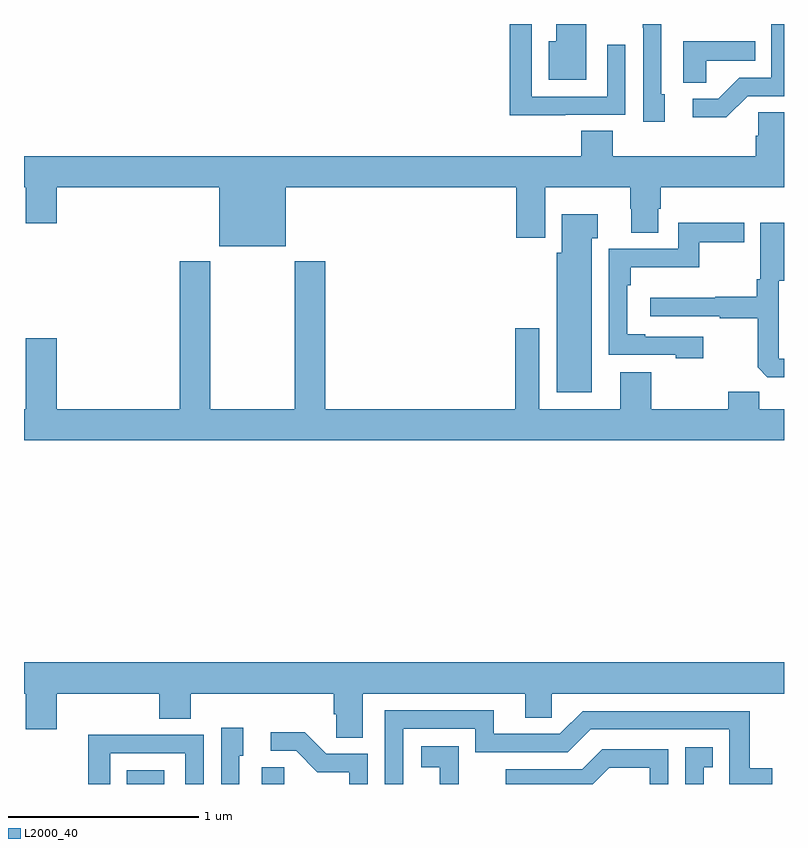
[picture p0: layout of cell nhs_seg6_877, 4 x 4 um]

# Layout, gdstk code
import gdstk
lib = gdstk.Library(unit=1e-6, precision=1e-09)
def R(c, l, rs):  # rectangles x0, y0, x1, y1
    for r in rs: c.add(gdstk.rectangle(r[:2], r[2:], *l))
def P(c, l, *ps):  # polygons
    for p in ps: c.add(gdstk.Polygon(p, *l))
L2000_40 = (2000, 40)

nhs_seg6_877 = lib.new_cell('nhs_seg6_877')
R(nhs_seg6_877, L2000_40, [(165.542,973.5,165.739,973.573), (166.25,973.5,166.371,973.589)])
P(nhs_seg6_877, L2000_40, [(168.373,977.13),(168.354,977.13),(168.354,977.5),(168.256,977.5),(168.256,977.479),(168.258,977.479),(168.258,976.986),(168.373,976.986)],
  [(167.849,977.022),(168.165,977.022),(168.165,977.392),(168.069,977.392),(168.069,977.118),(167.673,977.118),(167.673,977.5),(167.557,977.5),(167.557,977.021),(167.849,977.021)],
  [(168.81,977.121),(169,977.121),(169,977.5),(168.933,977.5),(168.933,977.217),(168.764,977.217),(168.653,977.106),(168.519,977.106),(168.519,977.009),(168.697,977.009)],
  [(167.959,977.5),(167.801,977.5),(167.801,977.41),(167.762,977.41),(167.762,977.207),(167.959,977.207)],
  [(168.591,977.306),(168.848,977.306),(168.848,977.41),(168.47,977.41),(168.47,977.191),(168.591,977.191)],
  [(166.378,976.64),(167.591,976.64),(167.591,976.374),(167.743,976.374),(167.743,976.64),(168.19,976.64),(168.19,976.527),(168.197,976.527),(168.197,976.402),(168.337,976.402),(168.337,976.527),(168.35,976.527),(168.35,976.64),(169,976.64),(169,977.036),(168.864,977.036),(168.864,976.913),(168.851,976.913),(168.851,976.804),(168.098,976.804),(168.098,976.937),(167.933,976.937),(167.933,976.804),(165,976.804),(165,976.64),(165.008,976.64),(165.008,976.452),(165.172,976.452),(165.172,976.64),(166.028,976.64),(166.028,976.331),(166.378,976.331)],
  [(167.989,976.373),(168.019,976.373),(168.019,976.498),(167.831,976.498),(167.831,976.296),(167.804,976.296),(167.804,975.563),(167.989,975.563)],
  [(168.574,975.855),(168.271,975.855),(168.271,975.868),(168.174,975.868),(168.174,976.124),(168.194,976.124),(168.194,976.22),(168.553,976.22),(168.553,976.351),(168.79,976.351),(168.79,976.454),(168.444,976.454),(168.444,976.317),(168.078,976.317),(168.078,975.759),(168.429,975.759),(168.429,975.74),(168.574,975.74)],
  [(169,975.738),(168.972,975.738),(168.972,976.149),(169,976.149),(169,976.453),(168.876,976.453),(168.876,976.156),(168.856,976.156),(168.856,976.064),(168.637,976.064),(168.637,976.06),(168.297,976.06),(168.297,975.963),(168.661,975.963),(168.661,975.951),(168.861,975.951),(168.861,975.693),(168.913,975.642),(169,975.642)],
  [(169,975.472),(168.871,975.472),(168.871,975.565),(168.707,975.565),(168.707,975.472),(168.301,975.472),(168.301,975.667),(168.137,975.667),(168.137,975.472),(167.713,975.472),(167.713,975.898),(167.585,975.898),(167.585,975.472),(166.586,975.472),(166.586,976.252),(166.426,976.252),(166.426,975.472),(165.981,975.472),(165.981,976.252),(165.821,976.252),(165.821,975.472),(165.172,975.472),(165.172,975.847),(165.008,975.847),(165.008,975.472),(165,975.472),(165,975.308),(169,975.308)],
  [(166.783,973.976),(167.639,973.976),(167.639,973.849),(167.778,973.849),(167.778,973.976),(169,973.976),(169,974.14),(165,974.14),(165,973.976),(165.008,973.976),(165.008,973.788),(165.172,973.788),(165.172,973.976),(165.713,973.976),(165.713,973.843),(165.878,973.843),(165.878,973.976),(166.631,973.976),(166.631,973.867),(166.644,973.867),(166.644,973.744),(166.783,973.744)],
  [(166.995,973.791),(167.376,973.791),(167.376,973.668),(167.862,973.668),(167.982,973.788),(168.711,973.788),(168.711,973.5),(168.938,973.5),(168.938,973.582),(168.82,973.582),(168.82,973.884),(167.94,973.884),(167.82,973.764),(167.473,973.764),(167.473,973.887),(166.899,973.887),(166.899,973.5),(166.995,973.5)],
  [(166.134,973.65),(166.153,973.65),(166.153,973.795),(166.038,973.795),(166.038,973.5),(166.134,973.5)],
  [(166.809,973.659),(166.59,973.659),(166.477,973.772),(166.299,973.772),(166.299,973.674),(166.433,973.674),(166.544,973.563),(166.713,973.563),(166.713,973.5),(166.809,973.5)],
  [(165.453,973.662),(165.849,973.662),(165.849,973.5),(165.945,973.5),(165.945,973.758),(165.629,973.758),(165.629,973.76),(165.337,973.76),(165.337,973.5),(165.453,973.5)],
  [(167.289,973.699),(167.091,973.699),(167.091,973.589),(167.189,973.589),(167.189,973.5),(167.289,973.5)],
  [(168.577,973.587),(168.626,973.587),(168.626,973.693),(168.48,973.693),(168.48,973.5),(168.577,973.5)],
  [(168.08,973.586),(168.294,973.586),(168.294,973.5),(168.39,973.5),(168.39,973.683),(168.044,973.683),(167.939,973.578),(167.536,973.578),(167.536,973.5),(167.994,973.5)])

lib.write_gds('nhs_seg6_877.gds')
